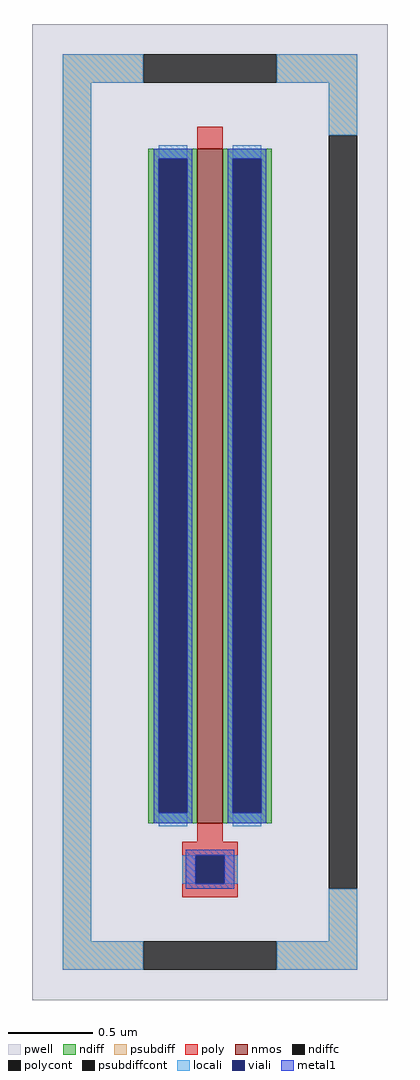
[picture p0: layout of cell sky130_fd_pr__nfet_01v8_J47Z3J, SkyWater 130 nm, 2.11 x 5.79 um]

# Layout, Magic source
magic
tech sky130A
magscale 1 2
<< pwell >>
rect -211 -579 211 579
<< nmos >>
rect -15 -369 15 431
<< ndiff >>
rect -73 419 -15 431
rect -73 -357 -61 419
rect -27 -357 -15 419
rect -73 -369 -15 -357
rect 15 419 73 431
rect 15 -357 27 419
rect 61 -357 73 419
rect 15 -369 73 -357
<< ndiffc >>
rect -61 -357 -27 419
rect 27 -357 61 419
<< psubdiff >>
rect -175 509 -79 543
rect 79 509 175 543
rect -175 -509 -141 509
rect 141 447 175 509
rect 141 -509 175 -447
rect -175 -543 -79 -509
rect 79 -543 175 -509
<< psubdiffcont >>
rect -79 509 79 543
rect 141 -447 175 447
rect -79 -543 79 -509
<< poly >>
rect -15 431 15 457
rect -15 -391 15 -369
rect -33 -407 33 -391
rect -33 -441 -17 -407
rect 17 -441 33 -407
rect -33 -457 33 -441
<< polycont >>
rect -17 -441 17 -407
<< locali >>
rect -175 509 -79 543
rect 79 509 175 543
rect -175 -509 -141 509
rect 141 447 175 509
rect -61 419 -27 435
rect -61 -373 -27 -357
rect 27 419 61 435
rect 27 -373 61 -357
rect -33 -441 -17 -407
rect 17 -441 33 -407
rect 141 -509 175 -447
rect -175 -543 -79 -509
rect 79 -543 175 -509
<< viali >>
rect -61 -357 -27 419
rect 27 -357 61 419
rect -17 -441 17 -407
<< metal1 >>
rect -67 419 -21 431
rect -67 -357 -61 419
rect -27 -357 -21 419
rect -67 -369 -21 -357
rect 21 419 67 431
rect 21 -357 27 419
rect 61 -357 67 419
rect 21 -369 67 -357
rect -29 -407 29 -401
rect -29 -441 -17 -407
rect 17 -441 29 -407
rect -29 -447 29 -441
<< properties >>
string FIXED_BBOX -158 -526 158 526
string gencell sky130_fd_pr__nfet_01v8
string library sky130
string parameters w 4.0 l 0.15 m 1 nf 1 diffcov 100 polycov 100 guard 1 glc 0 grc 1 gtc 1 gbc 1 tbcov 100 rlcov 100 topc 0 botc 1 poverlap 0 doverlap 1 lmin 0.15 wmin 0.42 compatible {sky130_fd_pr__nfet_01v8 sky130_fd_pr__nfet_01v8_lvt  sky130_fd_bs_flash__special_sonosfet_star  sky130_fd_pr__nfet_g5v0d10v5 sky130_fd_pr__nfet_05v0_nvt  sky130_fd_pr__nfet_03v3_nvt} full_metal 1 viasrc 100 viadrn 100 viagate 100 viagb 0 viagr 0 viagl 0 viagt 0
<< end >>
